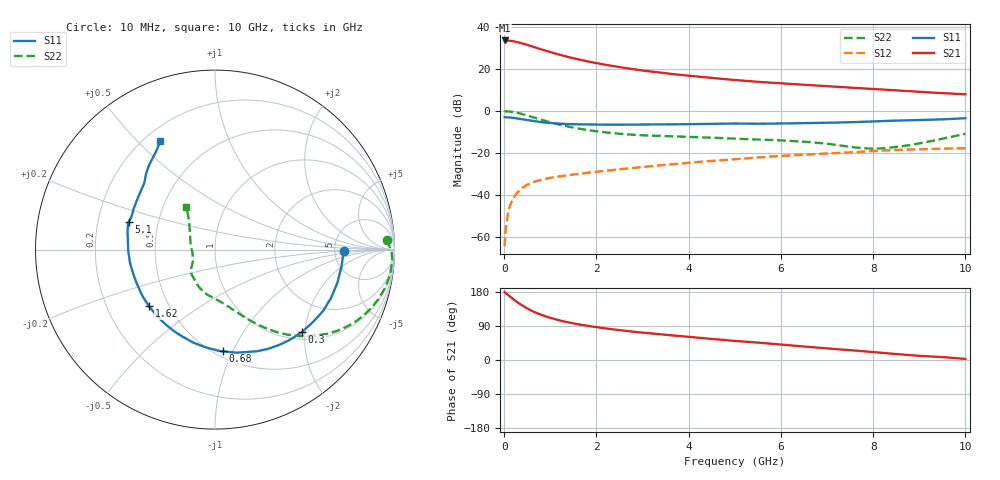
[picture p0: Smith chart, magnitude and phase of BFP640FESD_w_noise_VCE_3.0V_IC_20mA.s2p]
! Infineon Technologies  Discrete & RF Semiconductors
! BFP640FESD
! VCE =  3.0 V,  IC =  20 mA
! Common Emitter S-Parameters:  Jan 2016
# GHz  S  MA  R  50
!  f  S11  S21  S12  S22
! GHz  MAG  ANG  MAG  ANG  MAG  ANG  MAG  ANG
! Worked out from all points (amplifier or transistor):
!   233 points, 10 MHz to 10 GHz, reference 50 ohm
!   highest |S21| = 33.7 dB at 10 MHz (marker M1)
!   |S21| within 3 dB of that: start of sweep to 627.9 MHz
!   unconditionally stable (mu >= 1): 4.209 GHz to end of sweep
!   at 200 MHz: K = 0.11, MSG = 37.5 dB, |S12| = -41.6 dB
!   at 1.74 GHz: K = 0.72, MSG = 26.8 dB, |S12| = -29.6 dB
!   at 10 GHz: K = 1.08, MAG = 11.1 dB, |S12| = -17.7 dB
!   lowest NFmin = 0.88 dB at 450 MHz
!   S11 on the Smith chart (normalised r, x): 10 MHz: 6.04, -0.25; 300 MHz: 1.16, -1.93; 680 MHz: 0.55, -0.92; 1.62 GHz: 0.39, -0.32; 5.1 GHz: 0.34, +0.14; 10 GHz: 0.26, +0.59
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0.01  0.7164 -0.8  48.49 179.5  0.0006 68.9  0.9605 3.2
0.02  0.7142 -3.0  48.34 177.6  0.001 90.0  0.985 -1.0
0.1  0.7066 -15.0  48.01 170.2  0.0044 82.9  0.9852 -8.3
0.15  0.7006 -22.6  47.38 165.1  0.0064 80.2  0.971 -12.7
0.24  0.6806 -35.3  45.44 156.5  0.0098 74.0  0.9332 -19.8
0.3  0.6675 -43.5  44.02 151.2  0.0119 70.9  0.9025 -24.3
0.4  0.6403 -56.1  41.12 143.1  0.0149 66.2  0.8446 -30.9
0.48  0.6175 -65.3  38.67 137.3  0.017 62.9  0.7965 -35.6
0.6  0.5872 -78.0  35.12 129.5  0.0196 58.9  0.7261 -41.6
0.68  0.5687 -85.5  32.9 125.3  0.021 57.0  0.6832 -44.9
0.8  0.5466 -95.6  29.83 119.2  0.023 54.7  0.6242 -49.4
0.9  0.532 -103.1  27.6 114.9  0.0243 53.3  0.5809 -52.7
1.1  0.5097 -115.9  23.77 107.6  0.0267 51.6  0.507 -58.2
1.3  0.4965 -126.4  20.73 101.6  0.0288 50.7  0.4496 -62.9
1.62  0.4847 -139.3  17.05 93.9  0.032 50.5  0.382 -69.3
1.68  0.4827 -141.4  16.5 92.6  0.0325 50.6  0.3722 -70.4
2.4  0.4746 -160.3  11.69 80.2  0.04 51.4  0.2946 -83.3
3.4  0.4822 -177.9  8.218 67.7  0.0511 51.9  0.2561 -98.9
5.1  0.5049 162.2  5.416 49.5  0.0723 48.8  0.2181 -117.0
6.8  0.5228 143.4  4.042 32.6  0.0947 41.7  0.1748 -139.1
8.4  0.5893 129.2  3.173 16.7  0.1172 33.6  0.1358 170.7
10  0.6772 116.7  2.52 2.9  0.1301 23.5  0.2875 123.7
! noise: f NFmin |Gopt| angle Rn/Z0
0.45  0.88  0.04  -159  0.09
2.4  0.91  0.1  -167  0.09
5.5  1.14  0.24  -175  0.08
10  1.67  0.43  -111  0.25
